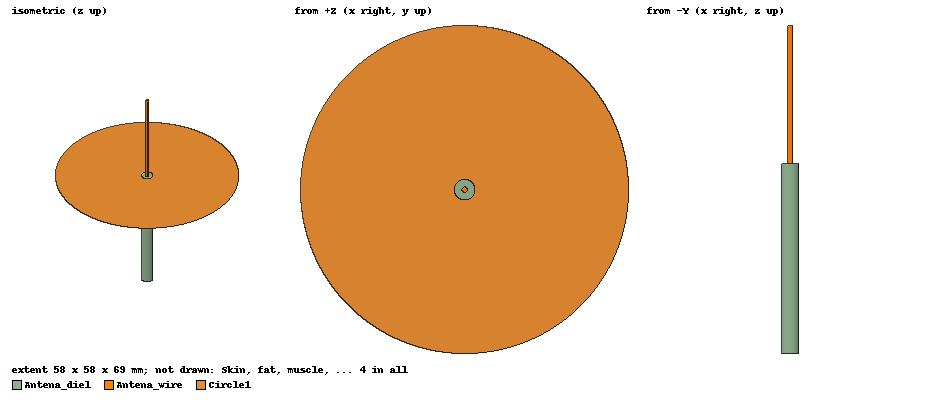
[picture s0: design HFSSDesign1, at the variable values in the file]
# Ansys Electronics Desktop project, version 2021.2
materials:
  vacuum: permittivity=1
  fat_2.45GHz: permittivity=5.3 conductivity=10
  skin_2.45GHz: permittivity=38 conductivity=1.46
  mucle_2.45GHz: permittivity=54.4 conductivity=1.74
  Material1: permittivity=2.4
  Megtron2_R1577: permittivity=4.1 dielectric_loss_tangent=0.01
  Antenae_diel: permittivity=2.4
  pec: conductivity=1e+30
  phantom_fat: permittivity=5.3 permeability=1 conductivity=0.1

design HFSSDesign1 (HFSS, DrivenModal, model units mm)
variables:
  phantom_w = 100mm
  skin_t = 2mm
  fat_t = 10mm
  muscle_t = 28mm
  ant_l = 29mm
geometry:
  Skin [skin_2.45GHz] = box(corner=(-phantom_w/2, -phantom_w/2, 0mm), size=(phantom_w, phantom_w, -skin_t))
  fat [phantom_fat] = box(corner=(-phantom_w/2, -phantom_w/2, -skin_t), size=(phantom_w, phantom_w, -fat_t))
  muscle [mucle_2.45GHz] = box(corner=(-phantom_w/2, -phantom_w/2, -skin_t -fat_t), size=(phantom_w, phantom_w, -muscle_t))
  Antena_diel [Antenae_diel] = cylinder(axis=Z, base_centre=(0mm, 0mm, 0mm), radius=1.8mm, height=-skin_t-muscle_t-fat_t)
  Antena_wire [pec] = cylinder(axis=Z, base_centre=(0mm, 0mm, ant_l), radius=0.5mm, height=-(ant_l+skin_t+fat_t+muscle_t))
  Circle1 [pec] = circle(normal=Z, centre=(0mm, 0mm, 0mm), radius=ant_l)
  AIR [vacuum] = box(corner=(-phantom_w/2, -phantom_w/2, 0), size=(phantom_w, phantom_w, 100mm))
  Antena_diel_1 = Antena_diel.copy()
  Antena_wire_1 = Antena_wire.copy()
  AIR.subtract(Antena_diel_1, Antena_wire_1)
  Antena_diel_2 = Antena_diel.copy()
  Antena_wire_2 = Antena_wire.copy()
  Circle1.subtract(Antena_diel_2, Antena_wire_2)
  Antena_diel_3 = Antena_diel.copy()
  Antena_wire_3 = Antena_wire.copy()
  fat.subtract(Antena_diel_3, Antena_wire_3)
  Antena_diel_4 = Antena_diel.copy()
  Antena_wire_4 = Antena_wire.copy()
  muscle.subtract(Antena_diel_4, Antena_wire_4)
  Antena_diel_5 = Antena_diel.copy()
  Antena_wire_5 = Antena_wire.copy()
  Skin.subtract(Antena_diel_5, Antena_wire_5)
  Antena_wire_6 = Antena_wire.copy()
  Antena_diel.subtract(Antena_wire_6)
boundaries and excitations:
  PerfE2: Perfect E Faces=Antena_diel.face(1 of 3)
  Rad1: Radiation Faces=Skin.face(+x, -x, -y) fat.face(+x, -x, -y, +y) muscle.face(-x, +x, -y, +y, -z)
  Rad3: Radiation Faces=Skin.face(+y)
  PerfE3: Perfect E Objects=Circle1
  Rad4: Radiation Faces=AIR.face(+z, -y, -x, +y, +x)
  1: Wave Port Faces=Antena_diel.face(2 of 3) NumModes=1 Modes{Mode1{IntLine{Antena_diel.edge(at (-0.5, 0, -40)) at 0.25 along -> Antena_diel.edge(1 of 2) at -0.25 along} CharImp=Zpi}}
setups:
  Setup1: HfssDriven Frequency=2.45GHz MaxDeltaS=0.02 MaximumPasses=3 MinimumPasses=1 MinimumConvergedPasses=1 PercentRefinement=30 BasisOrder=1 PortAccuracy=2
    sweep Sweep: 2GHz to 3GHz, 21 points; Type=Interpolating InterpTolerance=0.5 InterpMaxSolns=250 InterpUsePortImped=false PassivityErrorTolerance=0.0001
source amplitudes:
  1:1: 1W 0deg
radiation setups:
  Infinite Sphere1: Infinite Sphere Theta=0deg..180deg step 2deg Phi=-180deg..180deg step 2deg
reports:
  S Parameter Plot 1: dB(S(1,1)) vs Freq on Setup1 : Sweep [ant_l=29mm]; markers MX1 at x=2.4418929e+09
  Gain Plot 1: GainTotal vs Phi, Theta on Setup1 : LastAdaptive, Infinite Sphere1 [Freq=2.45GHz]
  Port Zo Plot 1: re(Zo(1)) vs Freq on Setup1 : Sweep [ant_l=29mm]
